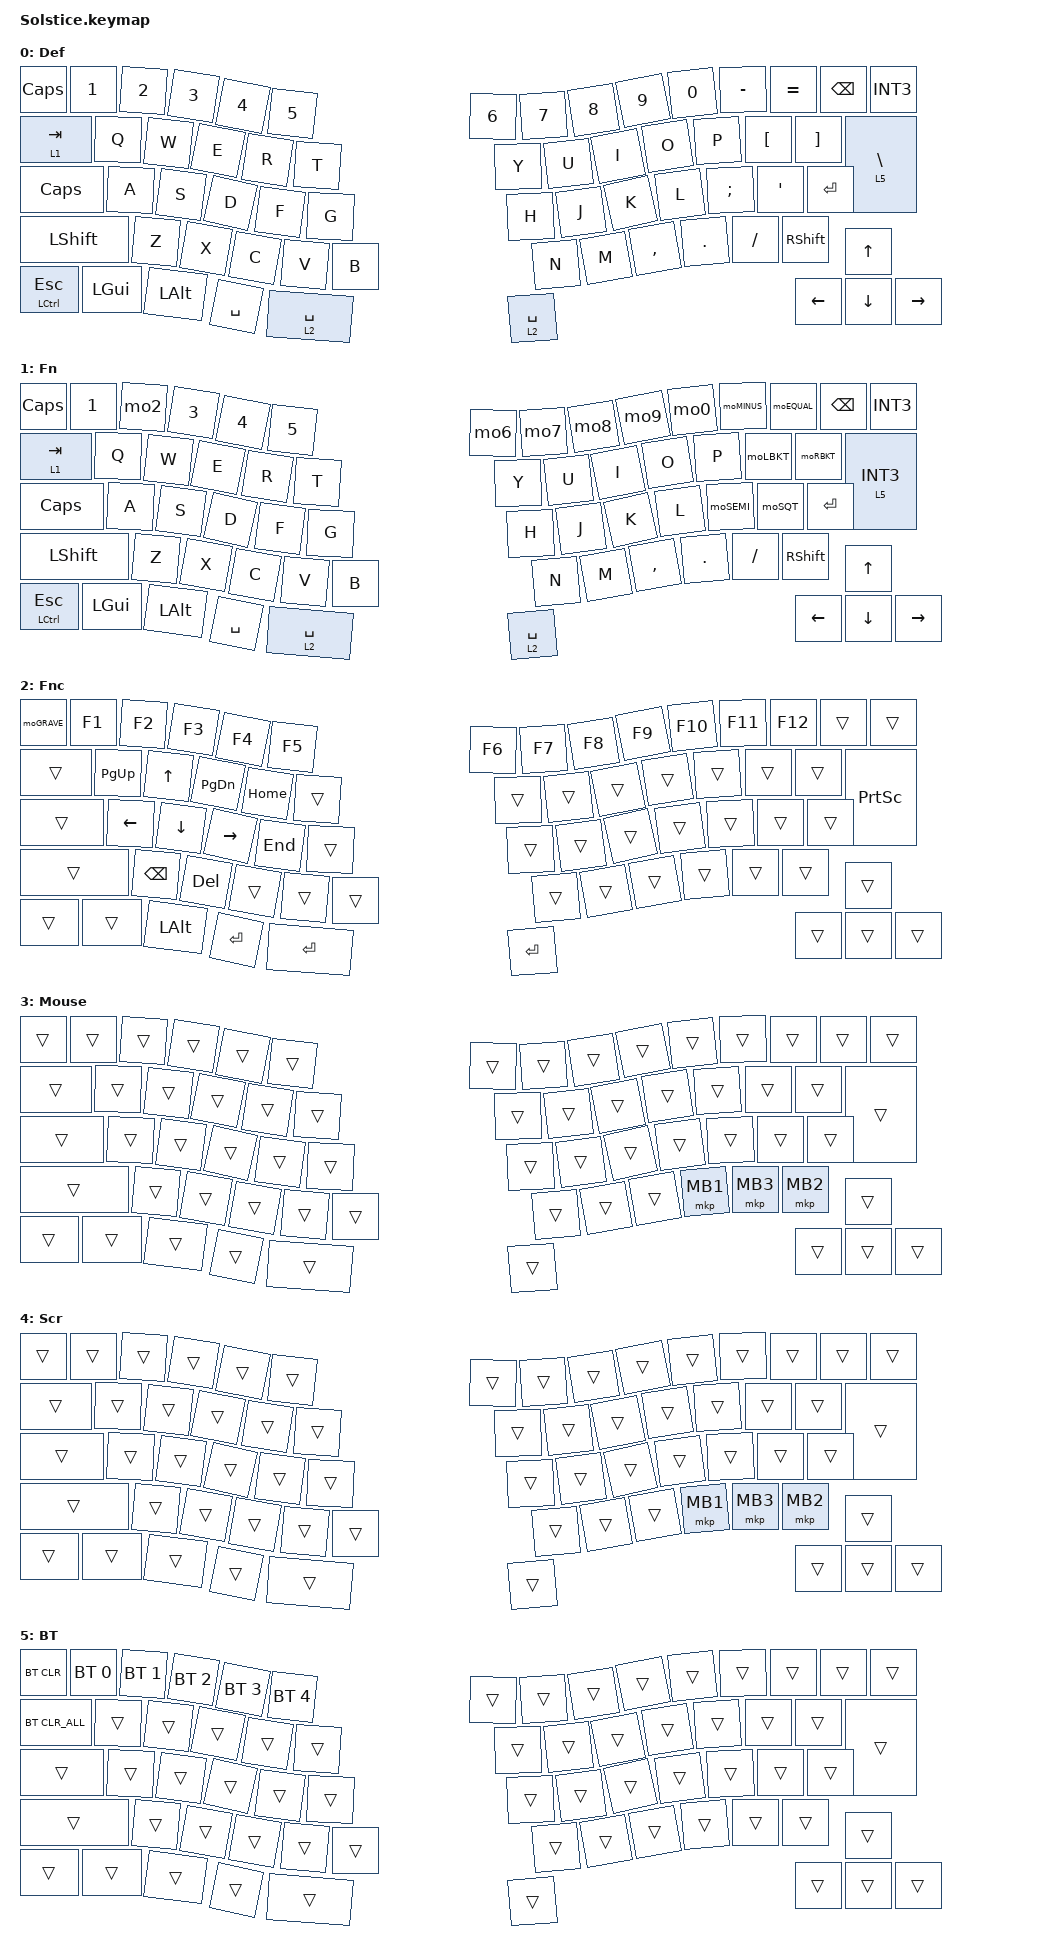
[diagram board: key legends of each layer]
#include <behaviors.dtsi>
#include <dt-bindings/zmk/keys.h>
#include <dt-bindings/zmk/pointing.h>
#include <dt-bindings/zmk/bt.h>
#include <physical_layouts.dtsi>

#define JIS 1
#define MOUSE 3
#define SCROLL 4
#define BT 5

&mt {
   flavor = "tap-preferred";
};

/ {
    chosen {
		zmk,physical-layout = &layout_US;
	};
	
	layout_US: layout_US {
		compatible = "zmk,physical-layout";
		display-name = "US";
		transform = <&default_transform>;
		kscan = <&kscan0>;

		keys//                    w   h    x    y     rot    rx    ry
		= <&key_physical_attrs 100 100    0    0       0     0     0>
		, <&key_physical_attrs 100 100  100    0       0     0     0>
		, <&key_physical_attrs 100 100  201    2     375   251    52>
		, <&key_physical_attrs 100 100  301   13     875   351    63>
		, <&key_physical_attrs 100 100  400   33    1125   450    83>
		, <&key_physical_attrs 100 100  499   48     625   549    98>
		, <&key_physical_attrs 100 100  900   54     125   950   104>
		, <&key_physical_attrs 100 100 1001   52  (-375)  1051   102>
		, <&key_physical_attrs 100 100 1101   41  (-875)  1151    91>
		, <&key_physical_attrs 100 100 1200   22 (-1125)  1250    72>
		, <&key_physical_attrs 100 100 1299    7  (-625)  1349    57>
		, <&key_physical_attrs 100 100 1400    0  (-125)  1450    50>
		, <&key_physical_attrs 100 100 1500    0       0     0     0>
		, <&key_physical_attrs 200 100 1600    0       0     0     0>
		, <&key_physical_attrs 150 100    0  100       0     0     0>
		, <&key_physical_attrs 100 100  150  100     125   200   150>
		, <&key_physical_attrs 100 100  251  107     625   301   157>
		, <&key_physical_attrs 100 100  350  122    1125   400   172>
		, <&key_physical_attrs 100 100  449  141     875   499   191>
		, <&key_physical_attrs 100 100  549  152     375   599   202>
		, <&key_physical_attrs 100 100  950  154  (-125)  1000   204>
		, <&key_physical_attrs 100 100 1051  148  (-625)  1101   198>
		, <&key_physical_attrs 100 100 1150  133 (-1125)  1200   183>
		, <&key_physical_attrs 100 100 1249  113  (-875)  1299   163>
		, <&key_physical_attrs 100 100 1349  102  (-375)  1399   152>
		, <&key_physical_attrs 100 100 1450  100       0     0     0>
		, <&key_physical_attrs 100 100 1550  100       0     0     0>
		, <&key_physical_attrs 150 100 1650  100       0     0     0>
		, <&key_physical_attrs 175 100    0  200       0     0     0>
		, <&key_physical_attrs 100 100  175  201     250   225   251>
		, <&key_physical_attrs 100 100  276  210     750   326   260>
		, <&key_physical_attrs 100 100  375  227    1250   425   277>
		, <&key_physical_attrs 100 100  474  245     750   524   295>
		, <&key_physical_attrs 100 100  575  254     250   625   304>
		, <&key_physical_attrs 100 100  975  254  (-250)  1025   304>
		, <&key_physical_attrs 100 100 1076  245  (-750)  1126   295>
		, <&key_physical_attrs 100 100 1175  227 (-1250)  1225   277>
		, <&key_physical_attrs 100 100 1274  210  (-750)  1324   260>
		, <&key_physical_attrs 100 100 1375  201  (-250)  1425   251>
		, <&key_physical_attrs 100 100 1475  200       0     0     0>
		, <&key_physical_attrs 225 100 1575  200       0     0     0>
		, <&key_physical_attrs 225 100    0  300       0     0     0>
		, <&key_physical_attrs 100 100  226  304     500   276   354>
		, <&key_physical_attrs 100 100  326  318    1000   376   368>
		, <&key_physical_attrs 100 100  424  337    1000   474   387>
		, <&key_physical_attrs 100 100  524  350     500   574   400>
		, <&key_physical_attrs 100 100  625  355       0     0     0>
		, <&key_physical_attrs 100 100 1026  350  (-500)  1076   400>
		, <&key_physical_attrs 100 100 1126  337 (-1000)  1176   387>
		, <&key_physical_attrs 100 100 1224  318 (-1000)  1274   368>
		, <&key_physical_attrs 100 100 1324  304  (-500)  1374   354>
		, <&key_physical_attrs 100 100 1425  300       0     0     0>
		, <&key_physical_attrs 100 100 1525  300       0     0     0>
		, <&key_physical_attrs 100 100 1650  325       0     0     0>
		, <&key_physical_attrs 125 100    0  400       0     0     0>
		, <&key_physical_attrs 125 100  125  400       0     0     0>
		, <&key_physical_attrs 125 100  253  409     700   316   459>
		, <&key_physical_attrs 100 100  325  445    1195   457   785>
		, <&key_physical_attrs 175 100  473  455     445   585   801>
		, <&key_physical_attrs 100 100 1002  455  (-445)  1065   801>
		, <&key_physical_attrs 100 100 1550  425       0     0     0>
		, <&key_physical_attrs 100 100 1650  425       0     0     0>
		, <&key_physical_attrs 100 100 1750  425       0     0     0>
		// , <&key_physical_attrs 100 100    0  525       0     0     0>
		;
	};
	
	layout_JIS: layout_JIS {
		compatible = "zmk,physical-layout";
		display-name = "JIS";
		transform = <&default_transform>;
		kscan = <&kscan0>;
		
		keys//                     w   h    x    y     rot    rx    ry
		= <&key_physical_attrs 100 100    0    0       0     0     0>
		, <&key_physical_attrs 100 100  100    0       0     0     0>
		, <&key_physical_attrs 100 100  201    2     375   251    52>
		, <&key_physical_attrs 100 100  301   13     875   351    63>
		, <&key_physical_attrs 100 100  400   33    1125   450    83>
		, <&key_physical_attrs 100 100  499   48     625   549    98>
		, <&key_physical_attrs 100 100  900   54     125   950   104>
		, <&key_physical_attrs 100 100 1001   52  (-375)  1051   102>
		, <&key_physical_attrs 100 100 1101   41  (-875)  1151    91>
		, <&key_physical_attrs 100 100 1200   22 (-1125)  1250    72>
		, <&key_physical_attrs 100 100 1299    7  (-625)  1349    57>
		, <&key_physical_attrs 100 100 1400    0  (-125)  1450    50>
		, <&key_physical_attrs 100 100 1500    0       0     0     0>
		, <&key_physical_attrs 100 100 1600    0       0     0     0>
		, <&key_physical_attrs 100 100 1700    0       0     0     0>
		, <&key_physical_attrs 150 100    0  100       0     0     0>
		, <&key_physical_attrs 100 100  150  100     125   200   150>
		, <&key_physical_attrs 100 100  251  107     625   301   157>
		, <&key_physical_attrs 100 100  350  122    1125   400   172>
		, <&key_physical_attrs 100 100  449  141     875   499   191>
		, <&key_physical_attrs 100 100  549  152     375   599   202>
		, <&key_physical_attrs 100 100  950  154  (-125)  1000   204>
		, <&key_physical_attrs 100 100 1051  148  (-625)  1101   198>
		, <&key_physical_attrs 100 100 1150  133 (-1125)  1200   183>
		, <&key_physical_attrs 100 100 1249  113  (-875)  1299   163>
		, <&key_physical_attrs 100 100 1349  102  (-375)  1399   152>
		, <&key_physical_attrs 100 100 1450  100       0     0     0>
		, <&key_physical_attrs 100 100 1550  100       0     0     0>
		, <&key_physical_attrs 150 200 1650  100       0     0     0>
		, <&key_physical_attrs 175 100    0  200       0     0     0>
		, <&key_physical_attrs 100 100  175  201     250   225   251>
		, <&key_physical_attrs 100 100  276  210     750   326   260>
		, <&key_physical_attrs 100 100  375  227    1250   425   277>
		, <&key_physical_attrs 100 100  474  245     750   524   295>
		, <&key_physical_attrs 100 100  575  254     250   625   304>
		, <&key_physical_attrs 100 100  975  254  (-250)  1025   304>
		, <&key_physical_attrs 100 100 1076  245  (-750)  1126   295>
		, <&key_physical_attrs 100 100 1175  227 (-1250)  1225   277>
		, <&key_physical_attrs 100 100 1274  210  (-750)  1324   260>
		, <&key_physical_attrs 100 100 1375  201  (-250)  1425   251>
		, <&key_physical_attrs 100 100 1475  200       0     0     0>
		, <&key_physical_attrs 100 100 1575  200       0     0     0>
		, <&key_physical_attrs 225 100    0  300       0     0     0>
		, <&key_physical_attrs 100 100  226  304     500   276   354>
		, <&key_physical_attrs 100 100  326  318    1000   376   368>
		, <&key_physical_attrs 100 100  424  337    1000   474   387>
		, <&key_physical_attrs 100 100  524  350     500   574   400>
		, <&key_physical_attrs 100 100  625  355       0     0     0>
		, <&key_physical_attrs 100 100 1026  350  (-500)  1076   400>
		, <&key_physical_attrs 100 100 1126  337 (-1000)  1176   387>
		, <&key_physical_attrs 100 100 1224  318 (-1000)  1274   368>
		, <&key_physical_attrs 100 100 1324  304  (-500)  1374   354>
		, <&key_physical_attrs 100 100 1425  300       0     0     0>
		, <&key_physical_attrs 100 100 1525  300       0     0     0>
		, <&key_physical_attrs 100 100 1650  325       0     0     0>
		, <&key_physical_attrs 125 100    0  400       0     0     0>
		, <&key_physical_attrs 125 100  125  400       0     0     0>
		, <&key_physical_attrs 125 100  253  409     700   316   459>
		, <&key_physical_attrs 100 100  325  445    1195   457   785>
		, <&key_physical_attrs 175 100  473  455     445   585   801>
		, <&key_physical_attrs 100 100 1002  455  (-445)  1065   801>
		, <&key_physical_attrs 100 100 1550  425       0     0     0>
		, <&key_physical_attrs 100 100 1650  425       0     0     0>
		, <&key_physical_attrs 100 100 1750  425       0     0     0>
		;
	};
	
	position_map {
		compatible = "zmk,physical-layout-position-map";
		complete;
		
		layout_US {
			physical-layout = <&layout_US>;
			positions
			= < 0  1  2  3  4  5     6  7  8  9 10 11 12 13 63>
			, <14 15 16 17 18 19    20 21 22 23 24 25 26 27   >
			, <28 29 30 31 32 33    34 35 36 37 38 39   40    >
			, <41 42 43 44 45 46    47 48 49 50 51 52   53    >
			, <54 55 56 57 58       59               60 61 62 >
			;
		};
		
		layout_JIS {
			physical-layout = <&layout_JIS>;
			positions
			= < 0  1  2  3  4  5     6  7  8  9 10 11 12 13 14>
			, <15 16 17 18 19 20    21 22 23 24 25 26 27 28   >
			, <29 30 31 32 33 34    35 36 37 38 39 40   41    >
			, <42 43 44 45 46 47    48 49 50 51 52 53   54    >
			, <55 56 57 58 59       60               61 62 63 >
			;
		};
	};

    behaviors {
        toJIS: toJIS {
            compatible = "zmk,behavior-hold-tap";
            #binding-cells = <2>;
            tapping-term-ms = <200>;
            quick-tap-ms = <0>;
            bindings = <&tog>, <&kp>;
        };
        mo2: mo2 {
            compatible = "zmk,behavior-mod-morph";
            #binding-cells = <0>;
            bindings = <&kp N2>, <&kp LBKT>;
            mods = <(MOD_LSFT|MOD_RSFT)>;
        };
        mo6: mo6 {
            compatible = "zmk,behavior-mod-morph";
            #binding-cells = <0>;
            bindings = <&kp N6>, <&kp EQUAL>;
            mods = <(MOD_LSFT|MOD_RSFT)>;
        };
        mo7: mo7 {
            compatible = "zmk,behavior-mod-morph";
            #binding-cells = <0>;
            bindings = <&kp N7>, <&kp LS(N6)>;
            mods = <(MOD_LSFT|MOD_RSFT)>;
        };
        mo8: mo8 {
            compatible = "zmk,behavior-mod-morph";
            #binding-cells = <0>;
            bindings = <&kp N8>, <&kp LS(SQT)>;
            mods = <(MOD_LSFT|MOD_RSFT)>;
        };
        mo9: mo9 {
            compatible = "zmk,behavior-mod-morph";
            #binding-cells = <0>;
            bindings = <&kp N9>, <&kp LS(N8)>;
            mods = <(MOD_LSFT|MOD_RSFT)>;
        };
        mo0: mo0 {
            compatible = "zmk,behavior-mod-morph";
            #binding-cells = <0>;
            bindings = <&kp N0>, <&kp LS(N9)>;
            mods = <(MOD_LSFT|MOD_RSFT)>;
        };
        moMINUS: moMINUS {
            compatible = "zmk,behavior-mod-morph";
            #binding-cells = <0>;
            bindings = <&kp MINUS>, <&kp LS(INT_RO)>;
            mods = <(MOD_LSFT|MOD_RSFT)>;
        };
        moEQUAL: moEQUAL {
            compatible = "zmk,behavior-mod-morph";
            #binding-cells = <0>;
            bindings = <&kp LS(MINUS)>, <&kp COLON>;
            mods = <(MOD_LSFT|MOD_RSFT)>;
        };
        moLBKT: moLBKT {
            compatible = "zmk,behavior-mod-morph";
            #binding-cells = <0>;
            bindings = <&kp RBKT>, <&kp LS(RBRC)>;
            mods = <(MOD_LSFT|MOD_RSFT)>;
        };
        moRBKT: moRBKT {
            compatible = "zmk,behavior-mod-morph";
            #binding-cells = <0>;
            bindings = <&kp BSLH>, <&kp LS(BSLH)>;
            mods = <(MOD_LSFT|MOD_RSFT)>;
        };
        moSEMI: moSEMI {
            compatible = "zmk,behavior-mod-morph";
            #binding-cells = <0>;
            bindings = <&kp SEMI>, <&kp SQT>;
            mods = <(MOD_LSFT|MOD_RSFT)>;
        };
        moSQT: moSQT {
            compatible = "zmk,behavior-mod-morph";
            #binding-cells = <0>;
            bindings = <&kp LS(N7)>, <&kp LS(N2)>;
            mods = <(MOD_LSFT|MOD_RSFT)>;
        };
        moGRAVE: moGRAVE {
            compatible = "zmk,behavior-mod-morph";
            #binding-cells = <0>;
            bindings = <&kp LS(LBRC)>, <&kp LS(EQUAL)>;
            mods = <(MOD_LSFT|MOD_RSFT)>;
        };
    }; 
 
   keymap {
        compatible = "zmk,keymap";
        default_layer {
            label="Def";
            bindings = <
&kp CAPS       &kp N1    &kp N2     &kp N3     &kp N4     &kp N5       &kp N6    &kp N7     &kp N8     &kp N9     &kp N0    &kp MINUS  &kp EQUAL      &kp BKSP  &kp INT3
&toJIS 1 TAB   &kp Q     &kp W      &kp E      &kp R      &kp T        &kp Y     &kp U      &kp I      &kp O      &kp P     &kp LBKT   &kp RBKT       &lt 5 BSLH
&kp CAPS       &kp A     &kp S      &kp D      &kp F      &kp G        &kp H     &kp J      &kp K      &kp L      &kp SEMI  &kp SQT                   &kp ENTER
&kp LSHFT      &kp Z     &kp X      &kp C      &kp V      &kp B        &kp N     &kp M      &kp COMMA  &kp DOT    &kp FSLH  &kp RSHFT                 &kp UP
&mt LCTL ESC   &kp LGUI  &kp LALT   &kp SPACE  &lt 2 SPACE             &lt 2 SPACE                                                           &kp LEFT &kp DOWN &kp RIGHT
>;
       };

        jis_layer {
            label="Fn";
            bindings = <
&kp CAPS       &kp N1    &mo2       &kp N3     &kp N4     &kp N5       &mo6      &mo7       &mo8       &mo9       &mo0      &moMINUS   &moEQUAL        &kp BKSP  &kp INT3
&toJIS 1 TAB   &kp Q     &kp W      &kp E      &kp R      &kp T        &kp Y     &kp U      &kp I      &kp O      &kp P     &moLBKT    &moRBKT         &lt 5 INT3
&kp CAPS       &kp A     &kp S      &kp D      &kp F      &kp G        &kp H     &kp J      &kp K      &kp L      &moSEMI   &moSQT                     &kp ENTER
&kp LSHFT      &kp Z     &kp X      &kp C      &kp V      &kp B        &kp N     &kp M      &kp COMMA  &kp DOT    &kp FSLH  &kp RSHFT                  &kp UP
&mt LCTL ESC   &kp LGUI  &kp LALT   &kp SPACE  &lt 2 SPACE             &lt 2 SPACE                                                        &kp LEFT &kp DOWN &kp RIGHT
>;
       };

       function_layer {
        	label="Fnc";
            bindings = <
&moGRAVE      &kp F1     &kp F2     &kp F3     &kp F4     &kp F5       &kp F6    &kp F7     &kp F8     &kp F9     &kp F10   &kp F11    &kp F12         &trans   &trans
&trans        &kp PG_UP  &kp UP     &kp PG_DN  &kp HOME   &trans       &trans    &trans     &trans     &trans     &trans    &trans     &trans          &kp PSCRN
&trans        &kp LEFT   &kp DOWN   &kp RIGHT  &kp END    &trans       &trans    &trans     &trans     &trans     &trans    &trans                     &trans
&trans        &kp BKSP   &kp DEL    &trans     &trans     &trans       &trans    &trans     &trans     &trans     &trans    &trans                     &trans
&trans        &trans     &kp LALT   &kp ENTER  &kp ENTER               &kp ENTER                                                              &trans   &trans   &trans
>;
       };

       mouse_layer {
        	label="Mouse";
            bindings = <
&trans        &trans     &trans     &trans     &trans     &trans       &trans    &trans     &trans     &trans     &trans    &trans     &trans          &trans   &trans
&trans        &trans     &trans     &trans     &trans     &trans       &trans    &trans     &trans     &trans     &trans    &trans     &trans          &trans
&trans        &trans     &trans     &trans     &trans     &trans       &trans    &trans     &trans     &trans     &trans    &trans                     &trans
&trans        &trans     &trans     &trans     &trans     &trans       &trans    &trans     &trans     &mkp MB1   &mkp MB3  &mkp MB2                   &trans
&trans        &trans     &trans                &trans     &trans       &trans                                                                 &trans   &trans   &trans
>;
       };

       scroll_layer {
        	label="Scr";
            bindings = <
&trans        &trans     &trans     &trans     &trans     &trans       &trans    &trans     &trans     &trans     &trans    &trans     &trans          &trans   &trans
&trans        &trans     &trans     &trans     &trans     &trans       &trans    &trans     &trans     &trans     &trans    &trans     &trans          &trans
&trans        &trans     &trans     &trans     &trans     &trans       &trans    &trans     &trans     &trans     &trans    &trans                     &trans
&trans        &trans     &trans     &trans     &trans     &trans       &trans    &trans     &trans     &mkp MB1   &mkp MB3  &mkp MB2                   &trans
&trans        &trans     &trans                &trans     &trans       &trans                                                                 &trans   &trans   &trans
>;
       };

        bt_layer {
        	label="BT";
            bindings = <
&bt BT_CLR     &bt BT_SEL 0 &bt BT_SEL 1 &bt BT_SEL 2 &bt BT_SEL 3 &bt BT_SEL 4  &trans   &trans   &trans   &trans   &trans  &trans    &trans          &trans   &trans
&bt BT_CLR_ALL &trans       &trans       &trans       &trans       &trans        &trans   &trans   &trans   &trans   &trans  &trans    &trans          &trans
&trans         &trans       &trans       &trans       &trans       &trans        &trans   &trans   &trans   &trans   &trans  &trans                    &trans
&trans         &trans       &trans       &trans       &trans       &trans        &trans   &trans   &trans   &trans   &trans  &trans                    &trans
&trans         &trans       &trans       &trans       &trans                     &trans                                                       &trans   &trans   &trans
>;
        };
    };
};
